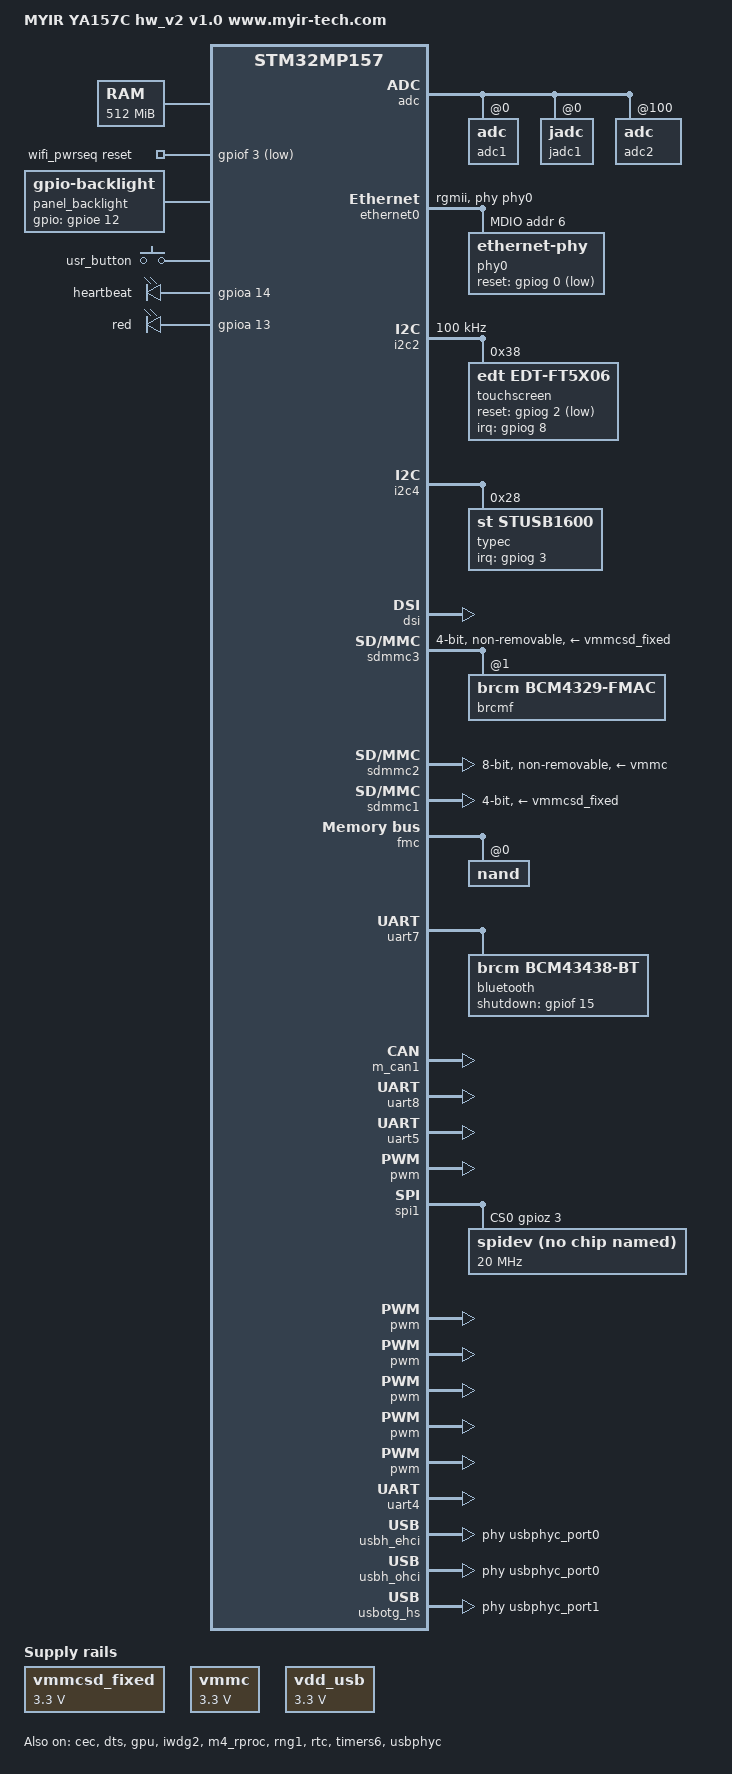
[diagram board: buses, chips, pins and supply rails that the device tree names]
// SPDX-License-Identifier: (GPL-2.0+ OR BSD-3-Clause)
/*
 * Based on stm32mp157a device number configuration
 * Author: licy.li@myirtech.com
 */

/dts-v1/;

#include "stm32mp157c-myc-ya157c.dtsi"
#include "stm32mp157c-m4-srm-myir.dtsi"
#include "stm32mp157cac-ya157c-pinctrl.dtsi"
#include <dt-bindings/gpio/gpio.h>
#include <dt-bindings/input/input.h>
#include <dt-bindings/mfd/st,stpmic1.h>
#include <dt-bindings/rtc/rtc-stm32.h>

/ {
	model = "MYIR YA157C hw_v2 v1.0 www.myir-tech.com";
	compatible = "myir,stm32mp157c-ya157c-v2", "st,stm32mp157c-dk2", "st,stm32mp157";

	aliases {
		ethernet0 = &ethernet0;
		serial0 = &uart4;
		serial2 = &uart8;//rs232
		serial3 = &uart5;//rs485
        serial5 = &uart7;//bt
	};

	chosen {
		stdout-path = "serial0:115200n8";
	};

	memory@c0000000 {
		reg = <0xc0000000 0x20000000>;
	};

	wifi_pwrseq: wifi-pwrseq {
		compatible = "mmc-pwrseq-simple";
		reset-gpios = <&gpiof 3 GPIO_ACTIVE_LOW>;
	};

	panel_backlight: panel-backlight {
		compatible = "gpio-backlight";
		gpios = <&gpioe 12 GPIO_ACTIVE_HIGH>;
		default-on;
			
		status = "okay";
	};

	reserved-memory {
		#address-cells = <1>;
		#size-cells = <1>;
		ranges;

		retram: retram@0x38000000 {
			compatible = "shared-dma-pool";
			reg = <0x38000000 0x10000>;
			no-map;
		};

		mcuram: mcuram@0x30000000 {
			compatible = "shared-dma-pool";
			reg = <0x30000000 0x40000>;
			no-map;
		};

		mcuram2: mcuram2@0x10000000 {
			compatible = "shared-dma-pool";
			reg = <0x10000000 0x40000>;
			no-map;
		};

		vdev0vring0: vdev0vring0@10040000 {
			compatible = "shared-dma-pool";
			reg = <0x10040000 0x2000>;
			no-map;
		};

		vdev0vring1: vdev0vring1@10042000 {
			compatible = "shared-dma-pool";
			reg = <0x10042000 0x2000>;
			no-map;
		};

		vdev0buffer: vdev0buffer@10044000 {
			compatible = "shared-dma-pool";
			reg = <0x10044000 0x4000>;
			no-map;
		};

		gpu_reserved: gpu@dc000000 {
			reg = <0xdc000000 0x4000000>;
			no-map;
		};
	};

	sram: sram@10050000 {
		compatible = "mmio-sram";
		reg = <0x10050000 0x10000>;
		#address-cells = <1>;
		#size-cells = <1>;
		ranges = <0 0x10050000 0x10000>;

		dma_pool: dma_pool@0 {
			reg = <0x0 0x10000>;
			pool;
		};
	};

	joystick {
	        compatible = "gpio-keys";
        	#size-cells = <0>;
        	button-0 {
               		 label = "usr_button";
               		 linux,code = <KEY_ENTER>;
                	interrupt-parent = <&gpioi>;
                	interrupts = <11 IRQ_TYPE_EDGE_RISING>;
        	};
	};

	led {
        	compatible = "gpio-leds";
        	blue {
        		label = "heartbeat";
        		gpios = <&gpioa 14 GPIO_ACTIVE_HIGH>;
        		linux,default-trigger = "heartbeat";
        		default-state = "off";
        	};
            red {
                label = "red";
                gpios = <&gpioa 13 GPIO_ACTIVE_HIGH>;
                linux,default-trigger = "heartbeat";
                default-state = "on";
            };

	};

	usb_phy_tuning: usb-phy-tuning {
		st,hs-dc-level = <2>;
		st,fs-rftime-tuning;
		st,hs-rftime-reduction;
		st,hs-current-trim = <15>;
		st,hs-impedance-trim = <1>;
		st,squelch-level = <3>;
		st,hs-rx-offset = <2>;
		st,no-lsfs-sc;
	};
		
	vmmcsd_fixed: fixedregulator@0 {
		compatible = "regulator-fixed";
		regulator-name = "vmmcsd_fixed";
		regulator-min-microvolt = <3300000>;
        	regulator-max-microvolt = <3300000>;
		
	};

   vmmc: fixedregulator@1 {
        	compatible = "regulator-fixed";
        	regulator-name = "vmmc";
        	regulator-min-microvolt = <3300000>;
        	regulator-max-microvolt = <3300000>;
        	startup-delay-us = <70000>;
       		 enable-active-high;  
    };


	regulators {
			compatible = "simple-bus";
            #address-cells = <1>;
            #size-cells = <0>;

			vddcore: buck1 {
				regulator-name = "vddcore";
				regulator-min-microvolt = <1200000>;
				regulator-max-microvolt = <1350000>;
				regulator-always-on;
				regulator-initial-mode = <0>;
				regulator-over-current-protection;
			};

			vdd_ddr: buck2 {
				regulator-name = "vdd_ddr";
				regulator-min-microvolt = <1350000>;
				regulator-max-microvolt = <1350000>;
				regulator-always-on;
				regulator-initial-mode = <0>;
				regulator-over-current-protection;
			};

			vdd: buck3 {
				regulator-name = "vdd";
				regulator-min-microvolt = <3300000>;
				regulator-max-microvolt = <3300000>;
				regulator-always-on;
				st,mask-reset;
				regulator-initial-mode = <0>;
				regulator-over-current-protection;
			};

			v3v3: buck4 {
				regulator-name = "v3v3";
				regulator-min-microvolt = <3300000>;
				regulator-max-microvolt = <3300000>;
				regulator-always-on;
				regulator-over-current-protection;
				regulator-initial-mode = <0>;
				
			};

			vdda: ldo1 {
				regulator-name = "v1v8_audio";
				regulator-min-microvolt = <1700000>;
				regulator-max-microvolt = <3300000>;
				regulator-always-on;
				//interrupts = <IT_CURLIM_LDO1 0>;

			};

			v1v8_hdmi: ldo2 {
				regulator-name = "v1v8_hdmi";
				regulator-min-microvolt = <1800000>;
				regulator-max-microvolt = <1800000>;
				regulator-always-on;
				//interrupts = <IT_CURLIM_LDO2 0>;

			};

			vtt_ddr: ldo3 {
				regulator-name = "vtt_ddr";
				regulator-min-microvolt = <500000>;
				regulator-max-microvolt = <750000>;
				regulator-always-on;
				regulator-over-current-protection;
			};

			vdd_usb: ldo4 {
                		compatible = "regulator-fixed";
                		reg = <1>;
				regulator-name = "vdd_usb";
				regulator-min-microvolt = <3300000>;
				regulator-max-microvolt = <3300000>;
				//interrupts = <IT_CURLIM_LDO4 0>;
			};

			vdd_sd: ldo5 {
				regulator-name = "vdd_sd";
				regulator-min-microvolt = <1700000>;
				regulator-max-microvolt = <3900000>;
				//interrupts = <IT_CURLIM_LDO5 0>;
				regulator-boot-on;
			};

			vref_ddr: vref_ddr {
				regulator-name = "vref_ddr";
				regulator-always-on;
				regulator-over-current-protection;
			};

			 bst_out: boost {
				regulator-name = "bst_out";
				//interrupts = <IT_OCP_BOOST 0>;
			 };

			vbus_otg: pwr_sw1 {
				regulator-name = "vbus_otg";
				//interrupts = <IT_OCP_OTG 0>;
				regulator-active-discharge;
			 };

			// usb_otg1_vbus: pwr_sw2 {
            //    		compatible = "regulator-fixed";
            //    		reg = <1>;
            //    		regulator-name = "usb_otg1_vbus";
            //    		regulator-min-microvolt = <5000000>;
            //    		regulator-max-microvolt = <5000000>;
            //    		enable-active-high;
		    //          interrupts = <IT_OCP_SWOUT 0>;
		    //          regulator-active-discharge;
			// };
		};

	
	

};


/*myir pin header
 *ANA0  ANA1 
 *PF13(ADC2_INP2) PF11(ADC1_INP2) 
 *PF14(ADC2_INP6 or ADC2_INN2) 
 *PF12(ADC1_INP6 or ADC1_INN2)
 *
 */
&adc {
	//pinctrl-names = "default";
	//pinctrl-0 = <&adc12_usb_pwr_pins_a>;
	//vdd-supply = <&vdd>;
	//vdda-supply = <&vdd>;
	//vref-supply = <&vrefbuf>;
	status = "okay";
	adc1: adc@0 {
		st,min-sample-time-nsecs = <400>;
		st,adc-channels = <0 1>;
		status = "okay";
	};
    jadc1: jadc@0 {
        st,adc-channels = <0 1>;
        /* 16.5 ck_cycles sampling time */
        st,min-sample-time-nsecs = <400>;
        status = "okay";
   };

	adc2: adc@100 {
		status = "okay";
	};
	adc_temp: temp {
		status = "okay";
	};
};

&cec {
	pinctrl-names = "default", "sleep";
	pinctrl-0 = <&cec_pins_a>;
	pinctrl-1 = <&cec_pins_sleep_a>;
	status = "okay";
};

&dma1 {
	sram = <&dma_pool>;
};

&dma2 {
	sram = <&dma_pool>;
};

&dts {
	status = "okay";
};

&ethernet0 {
	status = "okay";
	pinctrl-0 = <&ethernet0_rgmii_pins_a>;
	pinctrl-1 = <&ethernet0_rgmii_pins_sleep_a>;
	pinctrl-names = "default", "sleep";
	phy-mode = "rgmii";
	max-speed = <1000>;
	phy-handle = <&phy0>;
	
    mdio0 {
		#address-cells = <1>;
		#size-cells = <0>;
		compatible = "snps,dwmac-mdio";
		phy0: ethernet-phy@6 {
            reset-gpios = <&gpiog 0 GPIO_ACTIVE_LOW>;
            reg = <6>; 
		};
	};
};

&gpu {
	contiguous-area = <&gpu_reserved>;
	status = "okay";
};

&i2c1 {
	pinctrl-names = "default", "sleep";
	pinctrl-0 = <&i2c1_pins_a>;
	pinctrl-1 = <&i2c1_pins_sleep_a>;
	i2c-scl-rising-time-ns = <100>;
	i2c-scl-falling-time-ns = <7>;
	status = "disabled";
	/delete-property/dmas;
	/delete-property/dma-names;

};

&i2c2 {
	pinctrl-names = "default", "sleep";
        pinctrl-0 = <&i2c2_pins_a>;
        pinctrl-1 = <&i2c2_pins_sleep_a>;
        i2c-scl-rising-time-ns = <185>;
        i2c-scl-falling-time-ns = <20>;
        status = "okay";
        /delete-property/dmas;
        /delete-property/dma-names;
	clock-frequency = <100000>;
	
	touchscreen@38 {
              compatible ="edt,edt-ft5x06";
              reg = <0x38>;

              interrupts = <8  IRQ_TYPE_EDGE_FALLING>;
              interrupt-parent = <&gpiog>;
              interrupt-controller;
              touchscreen-size-x = <800>;
              touchscreen-size-y = <480>;

              reset-gpios = <&gpiog 2 GPIO_ACTIVE_LOW>;
              status = "okay";
      };

};


&i2c4 {
	pinctrl-names = "default", "sleep";
	pinctrl-0 = <&i2c4_pins_a>;
	pinctrl-1 = <&i2c4_pins_sleep_a>;
	i2c-scl-rising-time-ns = <185>;
	i2c-scl-falling-time-ns = <20>;
	status = "okay";
	/delete-property/dmas;
	/delete-property/dma-names;

	 typec: stusb1600@28 {
         compatible = "st,stusb1600";
         reg = <0x28>;
         interrupts = <3 IRQ_TYPE_EDGE_FALLING>;
         interrupt-parent = <&gpiog>;
         pinctrl-names = "default";
         pinctrl-0 = <&stusb1600_pins_a>;
         status = "okay";
 
         typec_con: connector {
             compatible = "usb-c-connector";
             label = "USB-C";
             power-role = "dual";
             power-opmode = "default";
         };
     };

	pmic: stpmic@33 {
		compatible = "st,stpmic1";
		reg = <0x33>;
		interrupts-extended = <&exti_pwr 55 IRQ_TYPE_EDGE_FALLING>;
		interrupt-controller;
		#interrupt-cells = <2>;
		status = "disabled";

		st,main-control-register = <0x04>;
		st,vin-control-register = <0xc0>;
		st,usb-control-register = <0x20>;
/*
		regulators {
			compatible = "st,stpmic1-regulators";

			ldo1-supply = <&v3v3>;
			ldo3-supply = <&vdd_ddr>;
			ldo6-supply = <&v3v3>;
			pwr_sw1-supply = <&bst_out>;
			pwr_sw2-supply = <&bst_out>;

			vddcore: buck1 {
				regulator-name = "vddcore";
				regulator-min-microvolt = <1200000>;
				regulator-max-microvolt = <1350000>;
				regulator-always-on;
				regulator-initial-mode = <0>;
				regulator-over-current-protection;
			};

			vdd_ddr: buck2 {
				regulator-name = "vdd_ddr";
				regulator-min-microvolt = <1350000>;
				regulator-max-microvolt = <1350000>;
				regulator-always-on;
				regulator-initial-mode = <0>;
				regulator-over-current-protection;
			};

			vdd: buck3 {
				regulator-name = "vdd";
				regulator-min-microvolt = <3300000>;
				regulator-max-microvolt = <3300000>;
				regulator-always-on;
				st,mask-reset;
				regulator-initial-mode = <0>;
				regulator-over-current-protection;
			};

			v3v3: buck4 {
				regulator-name = "v3v3";
				regulator-min-microvolt = <3300000>;
				regulator-max-microvolt = <3300000>;
				regulator-always-on;
				regulator-over-current-protection;
				regulator-initial-mode = <0>;
			};

			vdda: ldo1 {
				regulator-name = "v1v8_audio";
				regulator-min-microvolt = <1700000>;
				regulator-max-microvolt = <3300000>;
				regulator-always-on;
				interrupts = <IT_CURLIM_LDO1 0>;

			};

			v1v8_hdmi: ldo2 {
				regulator-name = "v1v8_hdmi";
				regulator-min-microvolt = <1800000>;
				regulator-max-microvolt = <1800000>;
				regulator-always-on;
				interrupts = <IT_CURLIM_LDO2 0>;

			};

			vtt_ddr: ldo3 {
				regulator-name = "vtt_ddr";
				regulator-min-microvolt = <500000>;
				regulator-max-microvolt = <750000>;
				regulator-always-on;
				regulator-over-current-protection;
			};

			vdd_usb: ldo4 {
				regulator-name = "vdd_usb";
				regulator-min-microvolt = <3300000>;
				regulator-max-microvolt = <3300000>;
				interrupts = <IT_CURLIM_LDO4 0>;
			};

			vdd_sd: ldo5 {
				regulator-name = "vdd_sd";
				regulator-min-microvolt = <1700000>;
				regulator-max-microvolt = <3900000>;
				interrupts = <IT_CURLIM_LDO5 0>;
				regulator-boot-on;
			};

			v1v2_eth: ldo6 {
				regulator-name = "v1v2_eth";
				regulator-min-microvolt = <1200000>;
				regulator-max-microvolt = <1200000>;
				regulator-always-on;
				interrupts = <IT_CURLIM_LDO6 0>;

			};

			vref_ddr: vref_ddr {
				regulator-name = "vref_ddr";
				regulator-always-on;
				regulator-over-current-protection;
			};

			 bst_out: boost {
				regulator-name = "bst_out";
				interrupts = <IT_OCP_BOOST 0>;
			 };

			vbus_otg: pwr_sw1 {
				regulator-name = "vbus_otg";
				interrupts = <IT_OCP_OTG 0>;
				regulator-active-discharge;
			 };

			 vbus_sw: pwr_sw2 {
				regulator-name = "vbus_sw";
				interrupts = <IT_OCP_SWOUT 0>;
				regulator-active-discharge;
			 };
		};

		onkey {
			compatible = "st,stpmic1-onkey";
			interrupts = <IT_PONKEY_F 0>, <IT_PONKEY_R 1>;
			interrupt-names = "onkey-falling", "onkey-rising";
			status = "okay";
		};

		watchdog {
			compatible = "st,stpmic1-wdt";
			status = "okay";
		};
*/
	};
    
};



&dsi {
	#address-cells = <1>;
	#size-cells = <0>;
	status = "okay";

};


&ipcc {
	status = "okay";
};

&iwdg2 {
	timeout-sec = <32>;
	status = "okay";
};

&m4_rproc {
	memory-region = <&retram>, <&mcuram>, <&mcuram2>, <&vdev0vring0>,
			<&vdev0vring1>, <&vdev0buffer>;
	mboxes = <&ipcc 0>, <&ipcc 1>, <&ipcc 2>;
	mbox-names = "vq0", "vq1", "shutdown";
	interrupt-parent = <&exti>;
	interrupts = <68 1>;
	interrupt-names = "wdg";
	recovery;
	status = "okay";

    m4_system_resources{
                status = "okay";
    };
};

&pwr {
	pwr-supply = <&vdd>;
};

&rng1 {
	status = "okay";
};

&rtc {
	st,lsco = <RTC_OUT2_RMP>;
	pinctrl-0 = <&rtc_out2_rmp_pins_a>;
	pinctrl-names = "default";
};

&rtc {
	status = "okay";
};



/* Wifi */
&sdmmc3 {
	arm,primecell-periphid = <0x10153180>;
	pinctrl-names = "default", "opendrain", "sleep";
	pinctrl-0 = <&sdmmc3_b4_pins_a>;
	pinctrl-1 = <&sdmmc3_b4_od_pins_a>;
	pinctrl-2 = <&sdmmc3_b4_sleep_pins_a>;
	non-removable;
	st,neg-edge;
	bus-width = <4>;
	vmmc-supply = <&vmmcsd_fixed>;
	mmc-pwrseq = <&wifi_pwrseq>;
	#address-cells = <1>;
	#size-cells = <0>;
	keep-power-in-suspend;
	status = "okay";

	brcmf: bcrmf@1 {
		reg = <1>;
		compatible = "brcm,bcm4329-fmac";
	};
};

/*emmc*/
&sdmmc2 {
        pinctrl-names = "default", "opendrain", "sleep";
        pinctrl-0 = <&sdmmc2_b4_pins_a &sdmmc2_d47_pins_a>;
        pinctrl-1 = <&sdmmc2_b4_od_pins_a &sdmmc2_d47_pins_a>;
        pinctrl-2 = <&sdmmc2_b4_sleep_pins_a &sdmmc2_d47_sleep_pins_a>;
        non-removable;
        no-sd;
        no-sdio;
        st,dirpol;
        st,negedge; 
        bus-width = <8>;
	    vmmc-supply = <&vmmc>;
        vqmmc-supply = <&vmmc>;
        status = "okay";
};

/*SD card*/
&sdmmc1 {
	pinctrl-names = "default", "opendrain", "sleep";
	pinctrl-0 = <&sdmmc1_b4_pins_a>;
	pinctrl-1 = <&sdmmc1_b4_od_pins_a>;
	pinctrl-2 = <&sdmmc1_b4_sleep_pins_a>;
	broken-cd;
	st,neg-edge;
	bus-width = <4>;
	vmmc-supply = <&vmmcsd_fixed>;
	status = "okay";
};

/*nand*/
&fmc {
    pinctrl-names = "default", "sleep";
    pinctrl-0 = <&fmc_pins_a>;
    pinctrl-1 = <&fmc_sleep_pins_a>;
    status = "okay";
    #address-cells = <1>;
    #size-cells = <0>;
                             
    nand: nand@0 {
          reg = <0>;
          nand-on-flash-bbt;
          #address-cells = <1>;
          #size-cells = <1>;
          nand-ecc-strength = <4>;
          nand-ecc-step-size = <512>;
    };                                                                                                                                                                                                 
};


/* Bluetooth */
&uart7 {
	pinctrl-names = "default", "sleep", "idle";
	pinctrl-0 = <&uart7_pins_myir>;
	pinctrl-1 = <&uart7_sleep_pins_myir>;
	pinctrl-2 = <&uart7_idle_pins_myir>;
	st,hw-flow-ctrl;
	status = "okay";

	bluetooth {
		//pinctrl-names = "default";
		//pinctrl-0 = <&btreg0>;
        shutdown-gpios = <&gpiof 15 GPIO_ACTIVE_HIGH>; 
		compatible = "brcm,bcm43438-bt";
		max-speed = <3000000>;
	};
};

/*can*/
&m_can1 {
	pinctrl-names = "default", "sleep";
	pinctrl-0 = <&m_can1_pins_a_myir>;
	pinctrl-1 = <&m_can1_sleep_pins_a_myir>;
	status = "okay";
};

/*rs232*/
&uart8 {
	pinctrl-names = "default", "sleep";
	pinctrl-0 = <&uart8_pins_mx>;
	pinctrl-1 = <&uart8_sleep_pins_mx>;
	status = "okay";
};

/*rs485*/
&uart5 {
       pinctrl-names = "default", "sleep";
        pinctrl-0 = <&uart5_pins_a>;
        pinctrl-1 = <&uart5_sleep_pins_a>;

        status = "okay";
};


/*pwm for backlight no usr*/
&timers15 {
	/delete-property/dmas;
	/delete-property/dma-names;
	pwm {
		pinctrl-0 = <&pwm15_pins_a>;
		pinctrl-1 = <&pwm15_sleep_pins_a>;
		pinctrl-names = "default", "sleep";
		status = "okay";
	};
	timer@14 {
		status = "okay";
	};
};

/*SPI1 for A7 core*/

&spi1 {
	pinctrl-names = "default", "sleep";
        pinctrl-0 = <&spi1_pins_a>;
        pinctrl-1 = <&spi1_sleep_pins_a>;
	    cs-gpios = <&gpioz 3 0>;
        status = "okay";
	spidev@0 {     
       		 compatible = "spidev";
        	spi-max-frequency = <20000000>;
        	reg = <0>;
    };

};


/*SPI1 for M4 core*/
/*
&m4_spi1 {
   pinctrl-names = "rproc_default";
   pinctrl-0 = <&m4_spi1_pins_z_mx>;
   status = "okay";

};
*/


/*spi4*/
&spi4 {
	pinctrl-names = "default", "sleep";
	pinctrl-0 = <&spi4_pins_a>;
	pinctrl-1 = <&spi4_sleep_pins_a>;
	status = "disabled";
};
/*spi5*/
&spi5 {
	pinctrl-names = "default", "sleep";
	pinctrl-0 = <&spi5_pins_a>;
	pinctrl-1 = <&spi5_sleep_pins_a>;
	status = "disabled";
};

&timers1 {
	/* spare dmas for other usage */
	/delete-property/dmas;
	/delete-property/dma-names;
	pwm {
		pinctrl-0 = <&pwm1_pins_a>;
		pinctrl-1 = <&pwm1_sleep_pins_a>;
		pinctrl-names = "default", "sleep";
		status = "okay";
	};
	timer@0 {
		status = "okay";
	};
};

&timers3 {
	/delete-property/dmas;
	/delete-property/dma-names;
	pwm {
		pinctrl-0 = <&pwm3_pins_a>;
		pinctrl-1 = <&pwm3_sleep_pins_a>;
		pinctrl-names = "default", "sleep";
		status = "okay";
	};
	timer@2 {
		status = "okay";
	};
};

&timers4 {
	/delete-property/dmas;
	/delete-property/dma-names;
	pwm {
		pinctrl-0 = <&pwm4_pins_a &pwm4_pins_b>;
		pinctrl-1 = <&pwm4_sleep_pins_a &pwm4_sleep_pins_b>;
		pinctrl-names = "default", "sleep";
		status = "okay";
	};
	timer@3 {
		status = "okay";
	};
};

&timers5 {
	/delete-property/dmas;
	/delete-property/dma-names;
	pwm {
		pinctrl-0 = <&pwm5_pins_a>;
		pinctrl-1 = <&pwm5_sleep_pins_a>;
		pinctrl-names = "default", "sleep";
		status = "okay";
	};
	timer@4 {
		status = "okay";
	};
};

&timers6 {
	status = "okay";
	/* spare dmas for other usage */
	/delete-property/dmas;
	/delete-property/dma-names;
	timer@5 {
		status = "okay";
	};
};

&timers12 {
	/delete-property/dmas;
	/delete-property/dma-names;
	pwm {
		pinctrl-0 = <&pwm12_pins_a>;
		pinctrl-1 = <&pwm12_sleep_pins_a>;
		pinctrl-names = "default", "sleep";
		status = "okay";
	};
	timer@11 {
		status = "okay";
	};
};

&uart4 {
	pinctrl-names = "default", "sleep", "idle", "no_console_suspend";
	pinctrl-0 = <&uart4_pins_a>;
	pinctrl-1 = <&uart4_sleep_pins_a>;
	pinctrl-2 = <&uart4_idle_pins_a>;
	pinctrl-3 = <&uart4_pins_a>;
	status = "okay";
};


&usart3 {
	pinctrl-names = "default", "sleep", "idle";
	pinctrl-0 = <&usart3_pins_b>;
	pinctrl-1 = <&usart3_sleep_pins_b>;
	pinctrl-2 = <&usart3_idle_pins_b>;
	status = "disabled";
};

/*usb host*/
&usbh_ehci {
	phys = <&usbphyc_port0>;
	phy-names = "usb";
	status = "okay";
};

/*USB*/
&usbh_ohci {
   phys = <&usbphyc_port0>; 
   phy-names = "usb";
   status = "okay";
};


&usbotg_hs {
    /*USB_ID but no use*/
//    pinctrl-names = "default";
//    pinctrl-0 = <&usbotg_hs_pins_a>;
//    dr_mode = "peripheral";
//    force-b-session-valid;

    extcon = <&typec>;
    phys = <&usbphyc_port1 0>;
    phy-names = "usb2-phy";
	status = "okay";
};

&usbphyc {
	vdd3v3-supply = <&vdd_usb>;
	status = "okay";
};

&usbphyc_port0 {
	st,phy-tuning = <&usb_phy_tuning>;
};

&usbphyc_port1 {
	st,phy-tuning = <&usb_phy_tuning>;
};

&vrefbuf {
	regulator-min-microvolt = <2500000>;
	regulator-max-microvolt = <2500000>;
	vdda-supply = <&vdd>;
	status = "disabled";
};
